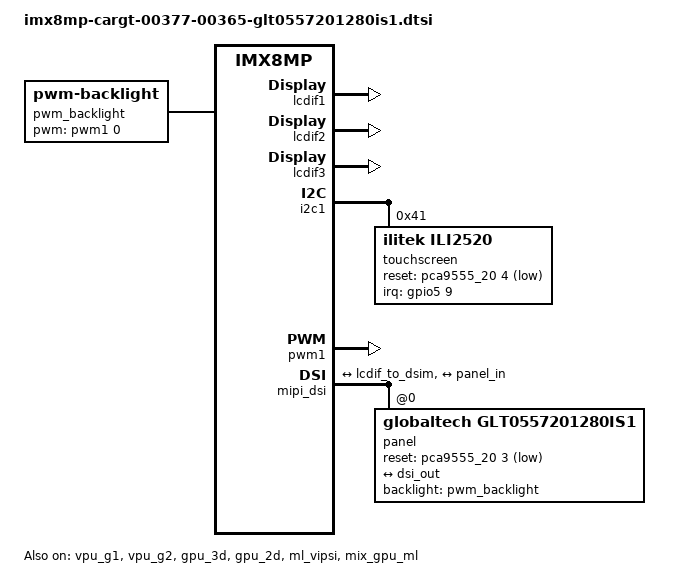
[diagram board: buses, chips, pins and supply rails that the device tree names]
/ {
	pwm_backlight: pwm_backlight {
		compatible = "pwm-backlight";
		pwms = <&pwm1 0 5000000 0>;
		brightness-levels = <0 100>;
		num-interpolated-steps = <100>;
		default-brightness-level = <80>;
		status = "okay";
	};
};

&lcdif1 {
	status = "okay";
};

&lcdif2 {
	status = "okay";
};

&lcdif3 {
	status = "okay";
};

&vpu_g1 {
	status = "okay";
};

&vpu_g2 {
	status = "okay";
};

&gpu_3d {
	status = "okay";
};

&gpu_2d {
	status = "okay";
};

&ml_vipsi {
	status = "okay";
};

&mix_gpu_ml {
	status = "okay";
};

&i2c1 {
	status = "okay";

	touchscreen@41 {
		compatible = "ilitek,ili2520";
		reg = <0x41>;

		pinctrl-0 = <&pinctrl_touchscreen>;
		reset-gpios = <&pca9555_20 4 GPIO_ACTIVE_LOW>;
		interrupt-parent = <&gpio5>;
		interrupts = <9 IRQ_TYPE_EDGE_FALLING>;
		touchscreen-swapped-x-y;
		touchscreen-inverted-x;
		wakeup-source;
	};
};

&pwm1 {
	pinctrl-names = "default";
	pinctrl-0 = <&pinctrl_backlight_pwm>;
	status = "okay";
};

&iomuxc {

	pinctrl_backlight_pwm: backlight-pwmgrp {
		fsl,pins = <			    
			MX8MP_IOMUXC_I2C4_SDA__PWM1_OUT			0x06
		>;
	};

	pinctrl_touchscreen: touchscreengrp {
		fsl,pins = <
			MX8MP_IOMUXC_ECSPI1_SS0__GPIO5_IO09		0x130 //Pull-up, input enabled, medium drive
		>;	 
	};
};

&mipi_dsi {
	#address-cells = <1>;
	#size-cells = <0>;
	status = "okay";

	port@0 {
		dsim_from_lcdif: endpoint {
			remote-endpoint = <&lcdif_to_dsim>;
			data-lanes = <1 2 3 4>;
		};
	};

	port@1 {
		dsi_out: endpoint {
			remote-endpoint = <&panel_in>;
		};
	};

	panel@0 {
		compatible = "globaltech,glt0557201280is1", "ilitek,ili9881c";
		reg = <0>;
		backlight = <&pwm_backlight>;
		reset-gpios = <&pca9555_20 3 GPIO_ACTIVE_LOW>;
		status = "okay";

		port {
			panel_in: endpoint {
				remote-endpoint = <&dsi_out>;
			};
		};
	};
};

